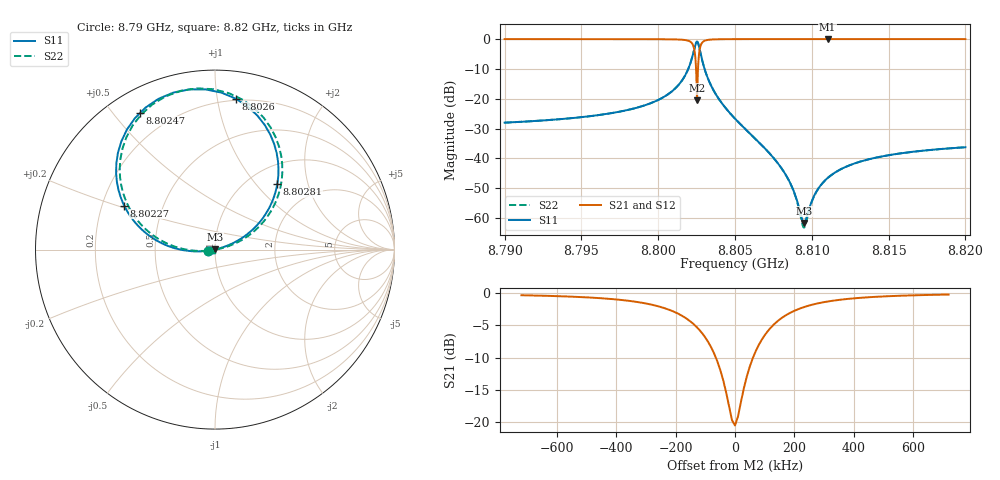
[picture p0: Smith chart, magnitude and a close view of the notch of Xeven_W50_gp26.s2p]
! Sonnet Data File
! From: emgraph Version : 16.52
! From Project: Qubit_Test_beforeopt
! Data is De-embedded
! Data File Written: 10/18/2017 20:39:12
!< HDATE 10/18/2017 18:14:34
!< MDATE 10/18/2017 18:14:34
!< PARAMS
!< Lj = 11.0
!< Gap = 26.0
!< Pwid = 2000.0
!< Airgap = 30.0
!< Width = 50.0
!< END PARAMS
# GHZ S MA R 51.80000
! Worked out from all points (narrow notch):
!   3001 points, 8.79 GHz to 8.82 GHz, reference 51.8 ohm
!   highest |S21| = 0.00 dB at 8.81103 GHz (marker M1); lowest = -20.5 dB at 8.80253 GHz (marker M2)
!   notch at M2: 20.5 dB deep, 121 kHz wide at half that depth
!   lowest |S11| = -61.6 dB at 8.80949 GHz (marker M3), VSWR 1.00, Z = 51.8 + j0.0844 ohm
!   |S11| at or under -10 dB: start of sweep to 8.801956 GHz; 8.803019 GHz to end of sweep
!   |S22| runs from -63.2 to -0.9 dB; largest |S21 - S12| = 0
!   S11 on the Smith chart (normalised r, x): 8.79 GHz: 0.92, -0.01; 8.80227 GHz: 0.29, +0.21; 8.80247 GHz: 0.09, +0.59; 8.8026 GHz: 0.19, +1.13; 8.80281 GHz: 1.33, +1.30; 8.82 GHz: 0.97, -0.00
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8.79  0.03978 -171.0  0.9992 -81.2  0.9992 -81.2  0.03978 -171.5
!< P1 F=8.79 Eeff=(6.43963342 -3.1364e-5) Z0=(50.401348 1.04894e-4) R=0.0 C=0.0
!< P2 F=8.79 Eeff=(6.43963342 -3.1364e-5) Z0=(50.401348 1.04894e-4) R=0.0 C=0.0
8.795  0.0492 -171.4  0.9987 -81.8  0.9987 -81.8  0.04919 -172.3
8.8  0.09557 -173.9  0.9949 -84.5  0.9949 -84.5  0.09556 -175.7
8.80181  0.2622 175.6  0.9589 -94.2  0.9589 -94.2  0.2622 173.2
8.80209  0.3906 166.9  0.9052 -102.0  0.9052 -102.0  0.3905 164.4
8.80227  0.5625 154.1  0.789 -113.2  0.789 -113.2  0.5624 151.6
8.80247  0.8699 118.8  0.2974 -135.2  0.2974 -135.2  0.8698 116.1
8.80253  0.9058 101.9  0.09453 -75.2  0.09453 -75.2  0.9056 99.2
8.8026  0.849 82.2  0.3552 -23.9  0.3552 -23.9  0.8489 79.5
8.8027  0.6738 60.7  0.6684 -37.0  0.6684 -37.0  0.6737 57.9
8.80281  0.5034 46.4  0.8303 -48.9  0.8303 -48.9  0.5033 43.6
8.80301  0.3215 33.5  0.9337 -60.3  0.9337 -60.3  0.3214 30.6
8.80332  0.1947 25.2  0.9757 -67.8  0.9757 -67.8  0.1946 22.1
8.805  0.04645 16.5  0.9984 -76.4  0.9984 -76.4  0.04643 12.0
8.80815  0.006165 20.7  0.9999 -78.8  0.9999 -78.8  0.006138 3.8
8.80881  0.0029 29.4  0.9999 -79.0  0.9999 -79.0  0.002854 -4.0
8.80949  0.0008336 102.1  0.9999 -79.1  0.9999 -79.1  0.0006931 -80.3
8.81  0.001931 166.8  0.9999 -79.2  0.9999 -79.2  0.001881 -148.7
8.81103  0.004706 -178.0  0.9999 -79.4  0.9999 -79.4  0.00469 -162.0
8.81258  0.007909 -174.1  0.9999 -79.6  0.9999 -79.6  0.007902 -165.7
8.815  0.01134 -172.5  0.9999 -79.8  0.9999 -79.8  0.01133 -167.4
8.82  0.01542 -171.6  0.9999 -80.1  0.9999 -80.1  0.01542 -168.7
